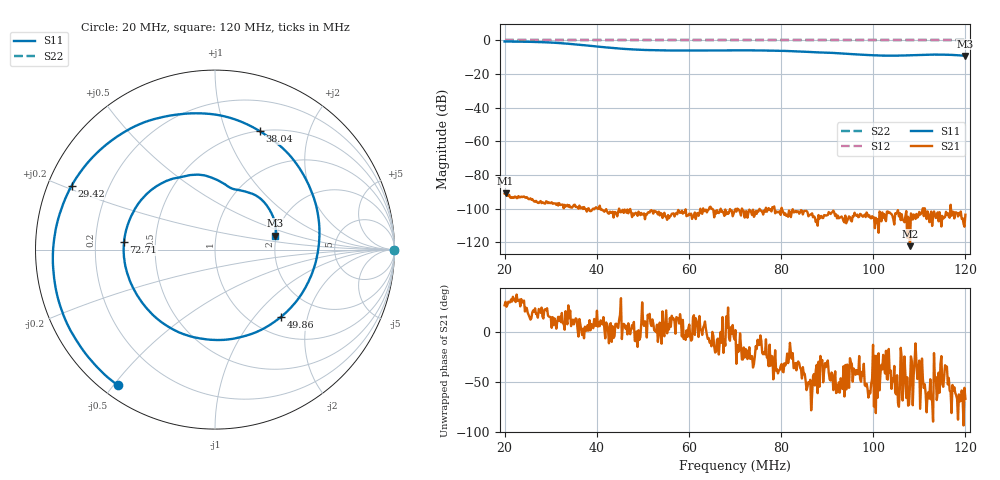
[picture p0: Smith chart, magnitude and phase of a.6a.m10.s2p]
! Anritsu VNA Master:  Model: MS2036C/10/77
! SN:  1601066
! /bd0/18may07/256.ew.m10.s2p
! Existing Calibration Information:
! TYPE:  Current Settings,  Active Cal Settings
! TIME:  05/07/2018 12:18:43 PM,  05/07/2018 12:05:13 PM
! INTERNAL TEMP:  54.8 C,  53.5 C
! # POINTS:  500,  500
! START FREQ:  20.000 MHz,  20.000 MHz
! STOP FREQ:  120.000 MHz,  120.000 MHz
! SOURCE POWER:  High,  High
! IFBW:  50 Hz,  50 Hz
! AVG FACTOR:  1 ,  1
! REF PLANE 1:  0 mm,  0 mm
! REF PLANE 2:  0 mm,  0 mm
! CAL TYPE:  Full S11,  Full S11
! CAL METHOD:  SOLT,  SOLT
! CAL LINE TYPE:  Coax,  Coax
! DUT PORT 1:  K-Conn(F),  K-Conn(F)
! DUT PORT 2:  K-Conn(F),  K-Conn(F)
! CAL STATUS:  OK: Accuracy High,  --
# GHZ S DB R 50.0
! FREQ.GHZ  S11DB  S11A  S21DB  S21A  S12DB  S12A  S22DB  S22A
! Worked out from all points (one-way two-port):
!   500 points, 20 MHz to 120 MHz, reference 50 ohm
!   highest |S21| = -90.80 dB at 20.2 MHz (marker M1); lowest = -122.3 dB at 108 MHz (marker M2)
!   lowest |S11| = -9.2 dB at 120 MHz (marker M3), VSWR 2.06, Z = 98.7 + j17.6 ohm
!   |S11| at or under -10 dB: nowhere
!   |S22| runs from 0.0 to 0.0 dB; largest |S21 - S12| = 1
!   S11 on the Smith chart (normalised r, x): 20 MHz: 0.05, -0.51; 29.42 MHz: 0.07, +0.21; 38.04 MHz: 0.50, +1.32; 49.86 MHz: 1.34, -1.39; 72.71 MHz: 0.33, +0.04; 120 MHz: 1.97, +0.35
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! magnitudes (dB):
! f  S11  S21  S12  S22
! 20 MHz  -0.6  -91.0  0.0  0.0
! 20.2 MHz  -0.6  -90.8  0.0  0.0
! 24.81 MHz  -0.8  -93.1  0.0  0.0
! 29.42 MHz  -1.2  -96.7  0.0  0.0
! 33.03 MHz  -1.8  -97.7  0.0  0.0
! 36.83 MHz  -2.7  -99.2  0.0  0.0
! 38.04 MHz  -3.0  -100.0  0.0  0.0
! 44.85 MHz  -4.8  -99.9  0.0  0.0
! 49.86 MHz  -5.6  -103.5  0.0  0.0
! 53.47 MHz  -5.9  -101.8  0.0  0.0
! 70.1 MHz  -5.9  -100.1  0.0  0.0
! 72.71 MHz  -5.9  -105.4  0.0  0.0
! 80.52 MHz  -6.2  -102.4  0.0  0.0
! 86.73 MHz  -6.9  -102.8  0.0  0.0
! 91.34 MHz  -7.4  -101.2  0.0  0.0
! 100.2 MHz  -8.8  -105.2  0.0  0.0
! 103.4 MHz  -9.0  -102.6  0.0  0.0
! 108 MHz  -8.8  -122.3  0.0  0.0
! 112 MHz  -8.4  -103.1  0.0  0.0
! 114.2 MHz  -8.4  -107.5  0.0  0.0
! 117.6 MHz  -8.6  -105.8  0.0  0.0
! 120 MHz  -9.2  -103.6  0.0  0.0
